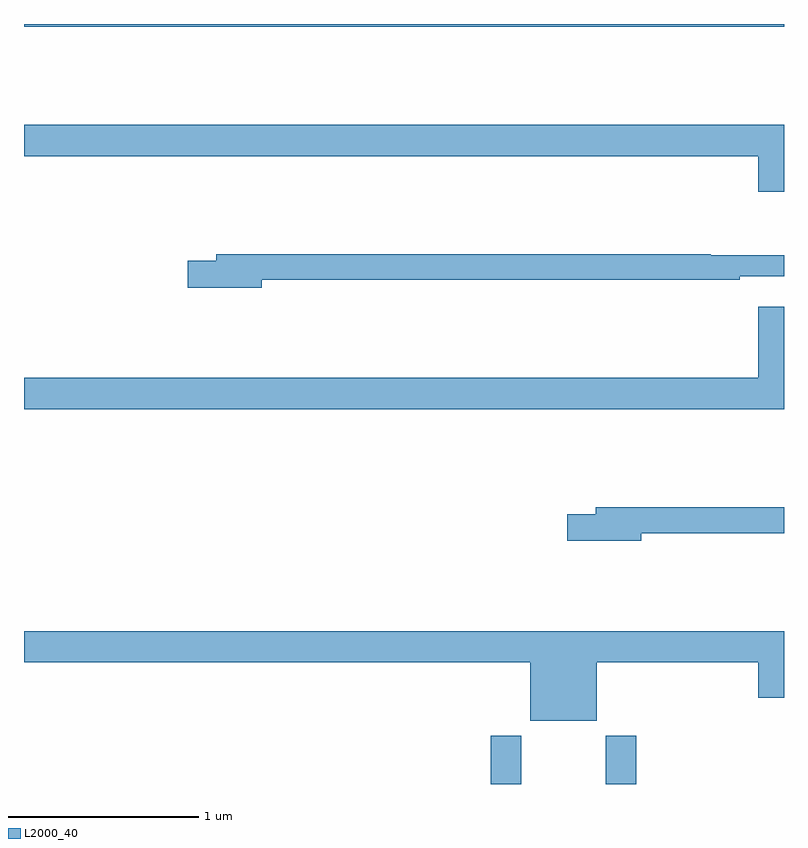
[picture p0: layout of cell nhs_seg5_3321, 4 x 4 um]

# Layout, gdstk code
import gdstk
lib = gdstk.Library(unit=1e-6, precision=1e-09)
def R(c, l, rs):  # rectangles x0, y0, x1, y1
    for r in rs: c.add(gdstk.rectangle(r[:2], r[2:], *l))
def P(c, l, *ps):  # polygons
    for p in ps: c.add(gdstk.Polygon(p, *l))
L2000_40 = (2000, 40)

nhs_seg5_3321 = lib.new_cell('nhs_seg5_3321')
R(nhs_seg5_3321, L2000_40, [(307.457,842.799,307.617,843.052), (308.062,842.799,308.222,843.052), (305,846.784,309,846.799)])
P(nhs_seg5_3321, L2000_40, [(309,846.268),(305,846.268),(305,846.104),(308.864,846.104),(308.864,845.916),(309,845.916)],
  [(306.25,845.452),(308.768,845.452),(308.768,845.471),(309,845.471),(309,845.581),(308.615,845.581),(308.615,845.588),(306.011,845.588),(306.011,845.552),(305.862,845.552),(305.862,845.41),(306.25,845.41)],
  [(309,845.311),(308.864,845.311),(308.864,844.936),(305,844.936),(305,844.772),(309,844.772)],
  [(308.248,844.12),(309,844.12),(309,844.256),(308.009,844.256),(308.009,844.22),(307.86,844.22),(307.86,844.078),(308.248,844.078)],
  [(305,843.44),(307.664,843.44),(307.664,843.131),(308.014,843.131),(308.014,843.44),(308.864,843.44),(308.864,843.252),(309,843.252),(309,843.604),(305,843.604)])

lib.write_gds('nhs_seg5_3321.gds')
